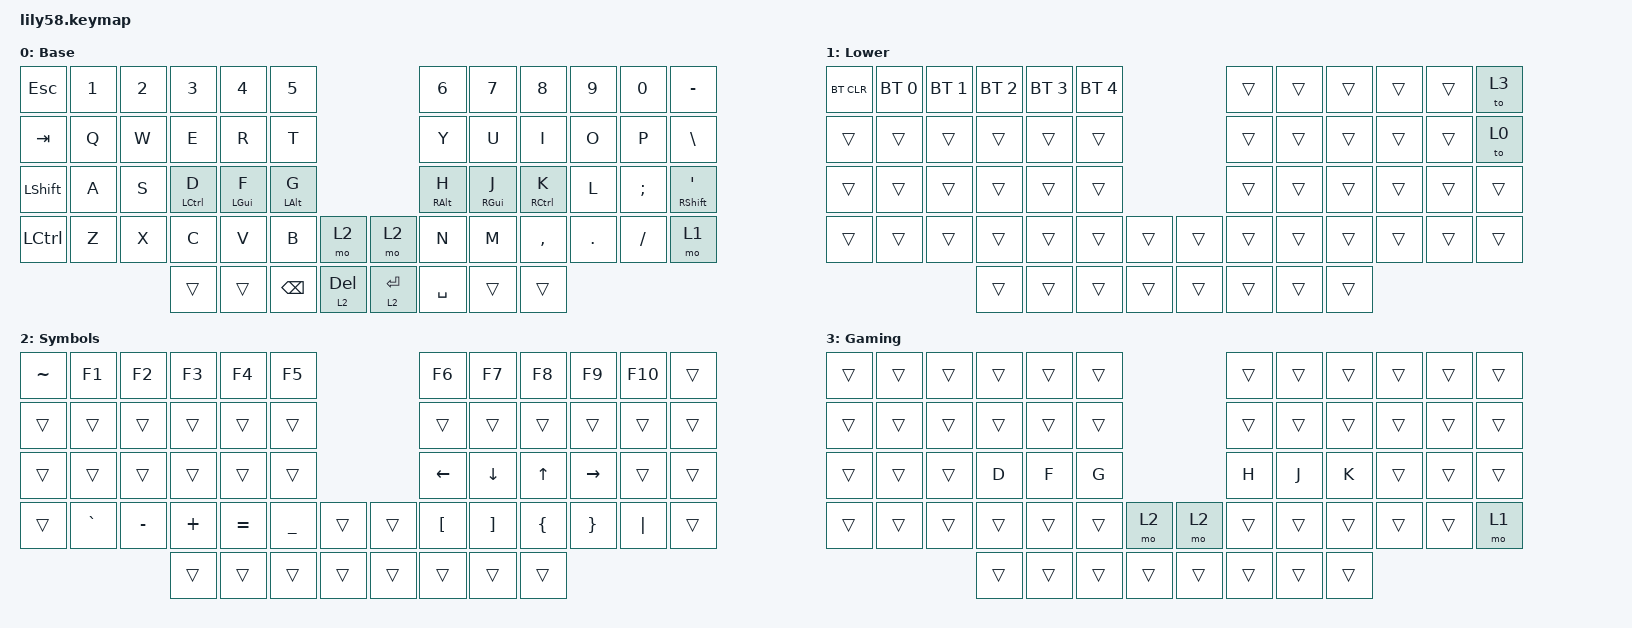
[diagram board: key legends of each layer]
/*
 * Copyright (c) 2020 The ZMK Contributors
 *
 * SPDX-License-Identifier: MIT
 */

#include <behaviors.dtsi>
#include <dt-bindings/zmk/bt.h>
#include <dt-bindings/zmk/keys.h>

&mt {
    tapping-term-ms = <300>;
    require-prior-idle-ms = <50>;
    flavor = "tap-preferred";
};

/ {
    keymap {
        compatible = "zmk,keymap";

        default_layer {
            display-name = "Base";
            bindings = <
&kp ESC         &kp N1  &kp N2  &kp N3       &kp N4          &kp N5                                        &kp N6           &kp N7           &kp N8       &kp N9   &kp N0    &kp MINUS
&kp TAB         &kp Q   &kp W   &kp E        &kp R           &kp T                                         &kp Y            &kp U            &kp I        &kp O    &kp P     &kp BACKSLASH
&kp LEFT_SHIFT  &kp A   &kp S   &mt LCTRL D  &mt LEFT_GUI F  &mt LEFT_ALT G                                &mt RIGHT_ALT H  &mt RIGHT_GUI J  &mt RCTRL K  &kp L    &kp SEMI  &mt RIGHT_SHIFT SINGLE_QUOTE
&kp LCTRL       &kp Z   &kp X   &kp C        &kp V           &kp B           &mo 2           &mo 2         &kp N            &kp M            &kp COMMA    &kp DOT  &kp FSLH  &mo 1
                                &trans       &trans          &kp BACKSPACE   &lt 2 DELETE    &lt 2 RETURN  &kp SPACE        &trans           &trans
            >;
        };

        Lower {
            display-name = "Lower";
            bindings = <
&bt BT_CLR  &bt BT_SEL 0  &bt BT_SEL 1  &bt BT_SEL 2  &bt BT_SEL 3  &bt BT_SEL 4                    &trans  &trans  &trans  &trans  &trans  &to 3
&trans      &trans        &trans        &trans        &trans        &trans                          &trans  &trans  &trans  &trans  &trans  &to 0
&trans      &trans        &trans        &trans        &trans        &trans                          &trans  &trans  &trans  &trans  &trans  &trans
&trans      &trans        &trans        &trans        &trans        &trans        &trans    &trans  &trans  &trans  &trans  &trans  &trans  &trans
                                        &trans        &trans        &trans        &trans    &trans  &trans  &trans  &trans
            >;
        };

        Symbols {
            display-name = "Symbols";
            bindings = <
&kp TILDE  &kp F1     &kp F2     &kp F3    &kp F4     &kp F5                            &kp F6            &kp F7             &kp F8          &kp F9           &kp F10   &trans
&trans     &trans     &trans     &trans    &trans     &trans                            &trans            &trans             &trans          &trans           &trans    &trans
&trans     &trans     &trans     &trans    &trans     &trans                            &kp LEFT_ARROW    &kp DOWN_ARROW     &kp UP_ARROW    &kp RIGHT        &trans    &trans
&trans     &kp GRAVE  &kp MINUS  &kp PLUS  &kp EQUAL  &kp UNDERSCORE  &trans    &trans  &kp LEFT_BRACKET  &kp RIGHT_BRACKET  &kp LEFT_BRACE  &kp RIGHT_BRACE  &kp PIPE  &trans
                                 &trans    &trans     &trans          &trans    &trans  &trans            &trans             &trans
            >;
        };

        Gaming {
            display-name = "Gaming";
            bindings = <
&trans  &trans  &trans  &trans  &trans  &trans                    &trans  &trans  &trans  &trans  &trans  &trans
&trans  &trans  &trans  &trans  &trans  &trans                    &trans  &trans  &trans  &trans  &trans  &trans
&trans  &trans  &trans  &kp D   &kp F   &kp G                     &kp H   &kp J   &kp K   &trans  &trans  &trans
&trans  &trans  &trans  &trans  &trans  &trans  &mo 2     &mo 2   &trans  &trans  &trans  &trans  &trans  &mo 1
                        &trans  &trans  &trans  &trans    &trans  &trans  &trans  &trans
            >;
        };

        extra_2 { status = "reserved"; };

        extra_3 { status = "reserved"; };
    };
};
